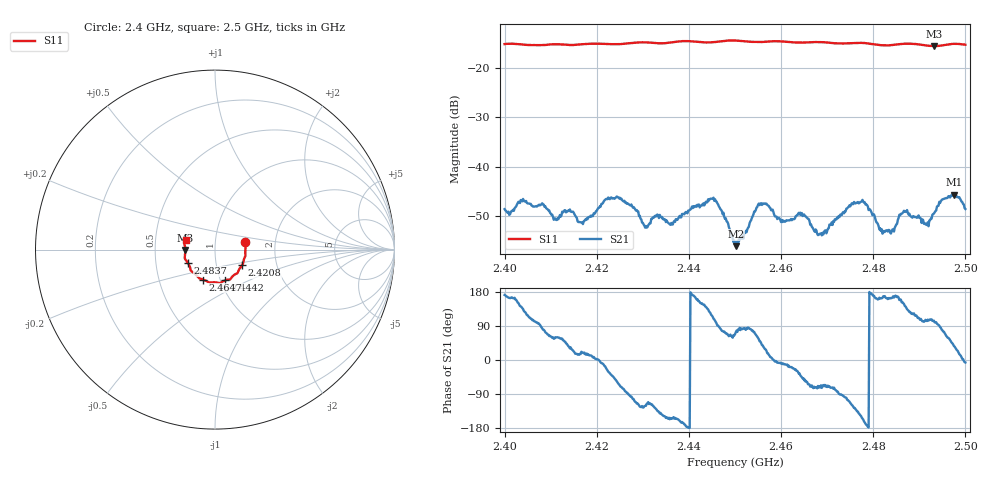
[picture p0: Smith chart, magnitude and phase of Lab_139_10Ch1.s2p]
# Hz S RI R 50
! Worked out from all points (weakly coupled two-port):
!   601 points, 2.4 GHz to 2.5 GHz, reference 50 ohm
!   highest |S21| = -45.65 dB at 2.4975 GHz (marker M1); lowest = -56.0 dB at 2.4502 GHz (marker M2)
!   lowest |S11| = -15.6 dB at 2.4932 GHz (marker M3), VSWR 1.40, Z = 35.8 - j0.106 ohm
!   |S11| at or under -10 dB: start of sweep to end of sweep
!   S12 and S22 are empty: the file has one direction only
!   S11 on the Smith chart (normalised r, x): 2.4 GHz: 1.40, +0.12; 2.4208 GHz: 1.33, -0.24; 2.4442 GHz: 1.05, -0.37; 2.4647 GHz: 0.83, -0.29; 2.4837 GHz: 0.73, -0.11; 2.5 GHz: 0.72, +0.08
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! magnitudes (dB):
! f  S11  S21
! 2.4 GHz  -15.2  -48.6
! 2.404 GHz  -15.3  -46.5
! 2.4167 GHz  -15.3  -51.2
! 2.4208 GHz  -15.2  -48.0
! 2.4248 GHz  -15.2  -46.4
! 2.4307 GHz  -14.9  -52.0
! 2.4333 GHz  -15.1  -49.9
! 2.4362 GHz  -14.9  -51.3
! 2.4442 GHz  -14.9  -46.6
! 2.45 GHz  -14.5  -55.1
! 2.4502 GHz  -14.5  -56.0
! 2.4555 GHz  -14.8  -47.4
! 2.4647 GHz  -14.9  -49.9
! 2.4667 GHz  -14.8  -52.1
! 2.4693 GHz  -14.8  -53.1
! 2.4777 GHz  -15.0  -46.7
! 2.4833 GHz  -15.5  -52.8
! 2.4837 GHz  -15.5  -53.3
! 2.4868 GHz  -15.2  -49.1
! 2.4932 GHz  -15.6  -49.5
! 2.4975 GHz  -15.2  -45.6
! 2.5 GHz  -15.3  -48.5
